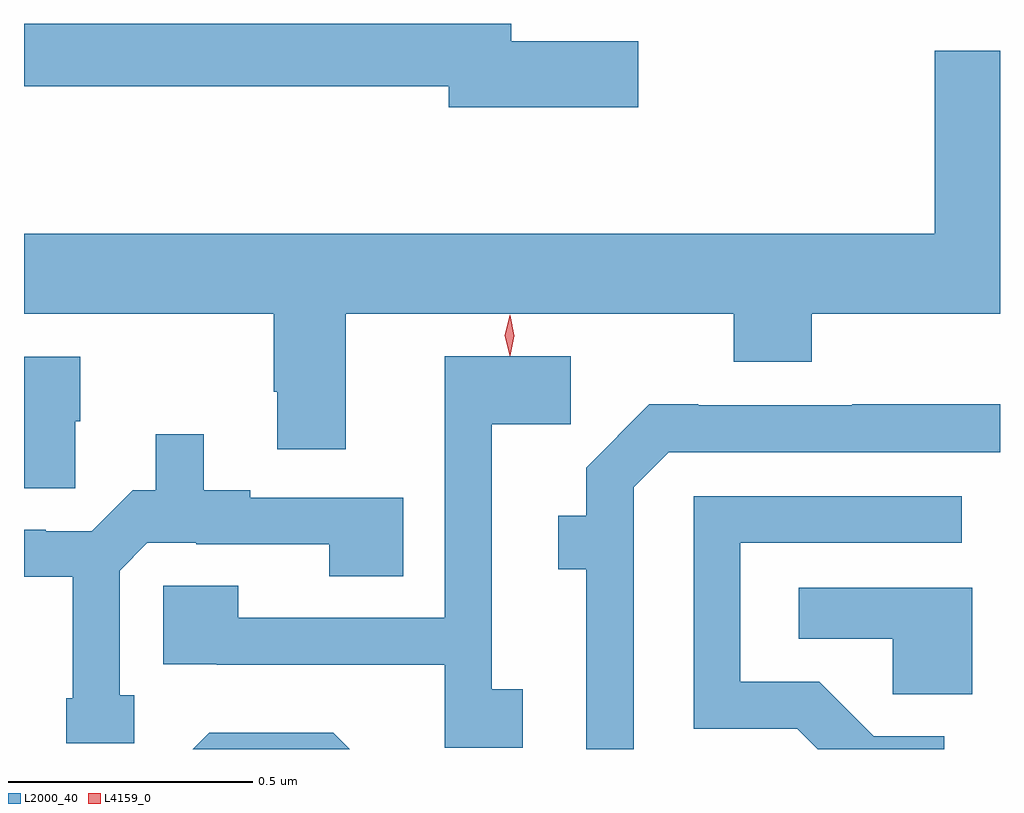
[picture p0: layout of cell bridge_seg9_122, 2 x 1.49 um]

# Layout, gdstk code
import gdstk
lib = gdstk.Library(unit=1e-6, precision=1e-09)
def P(c, l, *ps):  # polygons
    for p in ps: c.add(gdstk.Polygon(p, *l))
L2000_40 = (2000, 40)
L4159_0 = (4159, 0)

bridge_seg9_122 = lib.new_cell('bridge_seg9_122')
P(bridge_seg9_122, L2000_40, [(524.041,1231.61),(523.78,1231.61),(523.78,1231.646),(522.782,1231.646),(522.782,1231.518),(523.652,1231.518),(523.652,1231.475),(524.041,1231.475)],
  [(523.441,1231.052),(524.236,1231.052),(524.236,1230.953),(524.396,1230.953),(524.396,1231.052),(524.782,1231.052),(524.782,1231.591),(524.648,1231.591),(524.648,1231.216),(522.782,1231.216),(522.782,1231.052),(523.294,1231.052),(523.294,1230.892),(523.301,1230.892),(523.301,1230.774),(523.441,1230.774)],
  [(523.804,1230.282),(523.741,1230.282),(523.741,1230.825),(523.902,1230.825),(523.902,1230.964),(523.644,1230.964),(523.644,1230.429),(523.221,1230.429),(523.221,1230.494),(523.067,1230.494),(523.067,1230.333),(523.177,1230.333),(523.177,1230.332),(523.644,1230.332),(523.644,1230.162),(523.804,1230.162)],
  [(522.887,1230.831),(522.897,1230.831),(522.897,1230.963),(522.782,1230.963),(522.782,1230.694),(522.887,1230.694)],
  [(524.031,1230.696),(524.103,1230.768),(524.782,1230.768),(524.782,1230.866),(524.479,1230.866),(524.479,1230.864),(524.164,1230.864),(524.164,1230.866),(524.063,1230.866),(523.934,1230.736),(523.934,1230.638),(523.877,1230.638),(523.877,1230.528),(523.934,1230.528),(523.934,1230.159),(524.031,1230.159)],
  [(523.008,1230.27),(522.978,1230.27),(522.978,1230.525),(523.035,1230.582),(523.135,1230.582),(523.135,1230.579),(523.408,1230.579),(523.408,1230.514),(523.559,1230.514),(523.559,1230.675),(523.246,1230.675),(523.246,1230.69),(523.15,1230.69),(523.15,1230.805),(523.052,1230.805),(523.052,1230.69),(523.005,1230.69),(522.921,1230.606),(522.827,1230.606),(522.827,1230.609),(522.782,1230.609),(522.782,1230.513),(522.882,1230.513),(522.882,1230.264),(522.869,1230.264),(522.869,1230.171),(523.008,1230.171)],
  [(524.668,1230.186),(524.523,1230.186),(524.412,1230.297),(524.25,1230.297),(524.25,1230.582),(524.704,1230.582),(524.704,1230.678),(524.154,1230.678),(524.154,1230.201),(524.367,1230.201),(524.409,1230.159),(524.668,1230.159)],
  [(524.725,1230.49),(524.37,1230.49),(524.37,1230.386),(524.562,1230.386),(524.562,1230.272),(524.725,1230.272)],
  [(523.416,1230.193),(523.162,1230.193),(523.128,1230.159),(523.45,1230.159)])
P(bridge_seg9_122, L4159_0, [(523.777,1230.966),(523.767,1231.007),(523.777,1231.048),(523.777,1231.049),(523.778,1231.048),(523.787,1231.007),(523.778,1230.966),(523.778,1230.966)])

lib.write_gds('bridge_seg9_122.gds')
